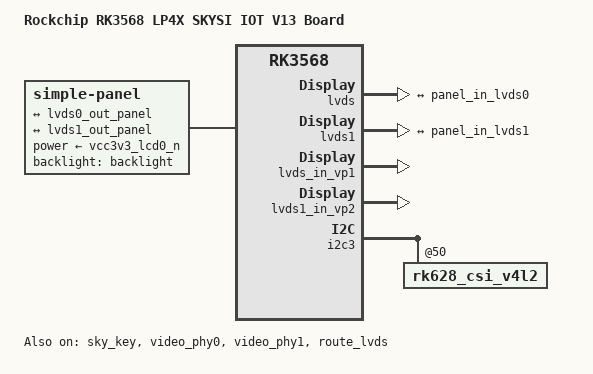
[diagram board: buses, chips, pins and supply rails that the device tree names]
// SPDX-License-Identifier: (GPL-2.0+ OR MIT)
/*
 * Copyright (c) 2020 Rockchip Electronics Co., Ltd.
 *
 */

#include <dt-bindings/display/media-bus-format.h>

#include "rk3568-evb-lp4x-s1-v11.dtsi"
#include "rk3568-android.dtsi"

/{
	model = "Rockchip RK3568 LP4X SKYSI IOT V13 Board";
	compatible = "rockchip,rk3568-iot-lp4x-s1-v13-lvds", "rockchip,rk3568";

	panel {
		compatible = "simple-panel";
		backlight = <&backlight>;
		power-supply = <&vcc3v3_lcd0_n>;
		enable-delay-ms = <10>;
		prepare-delay-ms = <10>;
		unprepare-delay-ms = <20>;
		disable-delay-ms = <20>;
		init-delay-ms = <100>;
		bus-format = <MEDIA_BUS_FMT_RGB888_1X7X4_SPWG>;
		width-mm = <217>;
		height-mm = <136>;

		display-timings {
			native-mode = <&timing0>;

			timing0: timing0 {
				clock-frequency = <155232000>;
				hactive = <1920>;
				vactive = <1080>;
				hback-porch = <96>;
				hfront-porch = <120>;
				vback-porch = <16>;
				vfront-porch = <64>;
				hsync-len = <64>;
				vsync-len = <16>;
				hsync-active = <0>;
				vsync-active = <0>;
				de-active = <0>;
				pixelclk-active = <0>;
			};
		};

		ports {
			#address-cells = <1>;
			#size-cells = <0>;

			port@0 {
				reg = <0>;
				dual-lvds-odd-pixels;
				panel_in_lvds0: endpoint {
					remote-endpoint = <&lvds0_out_panel>;
				};
			};
			port@1 {
				reg = <1>;
				dual-lvds-even-pixels;
				panel_in_lvds1: endpoint {
					remote-endpoint = <&lvds1_out_panel>;
				};
			};
		};
	};
};

&sky_key{
	dpi = "200";
	vertical-dpi = "160";
	status = "okay";
};

&backlight {
	enable-gpios = <&gpio0 RK_PC1 GPIO_ACTIVE_HIGH>;
};

&lvds {
	status = "okay";
	dual-channel;

	ports {
		port@1 {
			reg = <1>;
			lvds0_out_panel: endpoint {
				remote-endpoint = <&panel_in_lvds0>;
			};
		};
	};
};

/* enable video phy */
&video_phy0 {
	status = "okay";
};

&video_phy1 {
	status = "okay";
};

&lvds1 {
	status = "okay";

	ports {
		port@1 {
			reg = <1>;
			lvds1_out_panel: endpoint {
				remote-endpoint = <&panel_in_lvds1>;
			};
		};
	};
};

&lvds_in_vp1 {
	status = "okay";
};

&lvds1_in_vp1 {
	status = "disabled";
};

&lvds1_in_vp2 {
	status = "okay";
};

&route_lvds {
	status = "okay";
	logo,uboot = "logo.bmp";
	logo,kernel = "logo.bmp";
};

&i2c3 {
	rk628_csi_v4l2: rk628_csi_v4l2@50 {
	    status = "okay";
	    pinctrl-0 = <&rk628_irq &rk628_det &refclk_pins>;
	};
};
